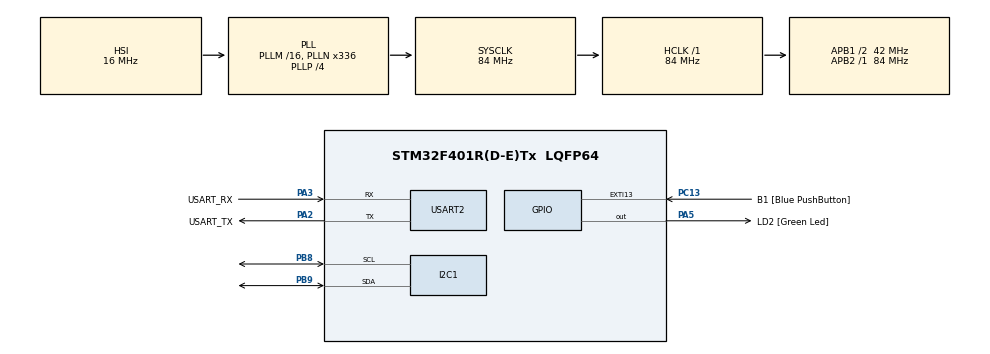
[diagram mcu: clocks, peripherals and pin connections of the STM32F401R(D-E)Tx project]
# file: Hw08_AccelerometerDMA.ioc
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Dma.I2C1_RX.0.Direction=DMA_PERIPH_TO_MEMORY
Dma.I2C1_RX.0.FIFOMode=DMA_FIFOMODE_DISABLE
Dma.I2C1_RX.0.Instance=DMA1_Stream0
Dma.I2C1_RX.0.MemDataAlignment=DMA_MDATAALIGN_BYTE
Dma.I2C1_RX.0.MemInc=DMA_MINC_ENABLE
Dma.I2C1_RX.0.Mode=DMA_NORMAL
Dma.I2C1_RX.0.PeriphDataAlignment=DMA_PDATAALIGN_BYTE
Dma.I2C1_RX.0.PeriphInc=DMA_PINC_DISABLE
Dma.I2C1_RX.0.Priority=DMA_PRIORITY_LOW
Dma.Request0=I2C1_RX
Dma.Request1=USART2_TX
Dma.USART2_TX.1.Direction=DMA_MEMORY_TO_PERIPH
Dma.USART2_TX.1.FIFOMode=DMA_FIFOMODE_DISABLE
Dma.USART2_TX.1.Instance=DMA1_Stream6
Dma.USART2_TX.1.MemDataAlignment=DMA_MDATAALIGN_BYTE
Dma.USART2_TX.1.MemInc=DMA_MINC_ENABLE
Dma.USART2_TX.1.Mode=DMA_NORMAL
Dma.USART2_TX.1.PeriphDataAlignment=DMA_PDATAALIGN_BYTE
Dma.USART2_TX.1.PeriphInc=DMA_PINC_DISABLE
Dma.USART2_TX.1.Priority=DMA_PRIORITY_LOW
Mcu.Family=STM32F4
Mcu.Name=STM32F401R(D-E)Tx
Mcu.Package=LQFP64
NVIC.DMA1_Stream0_IRQn=true\:0\:0\:false\:false\:true\:false\:true\:true
NVIC.DMA1_Stream6_IRQn=true\:0\:0\:false\:false\:true\:false\:true\:true
NVIC.I2C1_ER_IRQn=true\:0\:0\:false\:false\:true\:true\:true\:true
NVIC.I2C1_EV_IRQn=true\:0\:0\:false\:false\:true\:true\:true\:true
NVIC.PriorityGroup=NVIC_PRIORITYGROUP_4
NVIC.TIM2_IRQn=true\:0\:0\:false\:false\:true\:true\:true\:true
NVIC.USART2_IRQn=true\:0\:0\:false\:false\:true\:true\:true\:true
PA13.GPIO_Label=TMS
PA13.Mode=Trace_Asynchronous_SW
PA13.Signal=SYS_JTMS-SWDIO
PA14.GPIO_Label=TCK
PA14.Mode=Trace_Asynchronous_SW
PA14.Signal=SYS_JTCK-SWCLK
PA2.GPIO_Label=USART_TX
PA2.GPIO_Mode=GPIO_MODE_AF_PP
PA2.GPIO_PuPd=GPIO_NOPULL
PA2.GPIO_Speed=GPIO_SPEED_FREQ_LOW
PA2.Mode=Asynchronous
PA2.Signal=USART2_TX
PA3.GPIO_Label=USART_RX
PA3.GPIO_Mode=GPIO_MODE_AF_PP
PA3.GPIO_PuPd=GPIO_NOPULL
PA3.GPIO_Speed=GPIO_SPEED_FREQ_LOW
PA3.Mode=Asynchronous
PA3.Signal=USART2_RX
PA5.GPIO_Label=LD2 [Green Led]
PA5.GPIO_Mode=GPIO_MODE_OUTPUT_PP
PA5.GPIO_PuPd=GPIO_NOPULL
PA5.GPIO_Speed=GPIO_SPEED_FREQ_LOW
PA5.Signal=GPIO_Output
PB3.GPIO_Label=SWO
PB3.Mode=Trace_Asynchronous_SW
PB3.Signal=SYS_JTDO-SWO
PB8.Mode=I2C
PB8.Signal=I2C1_SCL
PB9.Mode=I2C
PB9.Signal=I2C1_SDA
PC13-ANTI_TAMP.GPIO_Label=B1 [Blue PushButton]
PC13-ANTI_TAMP.GPIO_ModeDefaultEXTI=GPIO_MODE_IT_FALLING
PC13-ANTI_TAMP.GPIO_PuPd=GPIO_NOPULL
PC13-ANTI_TAMP.Signal=GPXTI13
PC14-OSC32_IN.Mode=LSE-External-Oscillator
PC14-OSC32_IN.Signal=RCC_OSC32_IN
PC15-OSC32_OUT.Mode=LSE-External-Oscillator
PC15-OSC32_OUT.Signal=RCC_OSC32_OUT
PH0\ -\ OSC_IN.Mode=HSE-External-Clock-Source
PH0\ -\ OSC_IN.Signal=RCC_OSC_IN
PH1\ -\ OSC_OUT.Mode=HSE-External-Clock-Source
PH1\ -\ OSC_OUT.Signal=RCC_OSC_OUT
ProjectManager.HeapSize=0x200
ProjectManager.StackSize=0x400
ProjectManager.TargetToolchain=STM32CubeIDE
RCC.48MHZClocksFreq_Value=48000000
RCC.AHBFreq_Value=84000000
RCC.APB1CLKDivider=RCC_HCLK_DIV2
RCC.APB1Freq_Value=42000000
RCC.APB1TimFreq_Value=84000000
RCC.APB2Freq_Value=84000000
RCC.APB2TimFreq_Value=84000000
RCC.CortexFreq_Value=84000000
RCC.HCLKFreq_Value=84000000
RCC.HSE_VALUE=8000000
RCC.HSI_VALUE=16000000
RCC.PLLN=336
RCC.PLLP=RCC_PLLP_DIV4
RCC.PLLQ=7
RCC.SYSCLKFreq_VALUE=84000000
RCC.SYSCLKSource=RCC_SYSCLKSOURCE_PLLCLK
RCC.VCOOutputFreq_Value=336000000
TIM2.Period=9999
TIM2.Prescaler=8399
USART2.VirtualMode=VM_ASYNC
VP_TIM2_VS_ClockSourceINT.Mode=Internal
board=NUCLEO-F401RE

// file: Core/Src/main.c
/* USER CODE BEGIN Header */
/**
  ******************************************************************************
  * @file           : main.c
  * @brief          : Main program body
  ******************************************************************************
  * @attention
  *
  * Copyright (c) 2025 STMicroelectronics.
  * All rights reserved.
  *
  * This software is licensed under terms that can be found in the LICENSE file
  * in the root directory of this software component.
  * If no LICENSE file comes with this software, it is provided AS-IS.
  *
  ******************************************************************************
  */
/* USER CODE END Header */
#include "main.h"

/* USER CODE BEGIN Includes */
#include "stdio.h"
/* USER CODE END Includes */

/* USER CODE BEGIN PD */
#define LIS2DE_ADDR (0b0101000 << 1)
#define CTRL_REG1 0x20
#define CTRL_REG4 0x23
#define OUT 0x28
/* USER CODE END PD */

I2C_HandleTypeDef hi2c1;
DMA_HandleTypeDef hdma_i2c1_rx;

TIM_HandleTypeDef htim2;

UART_HandleTypeDef huart2;
DMA_HandleTypeDef hdma_usart2_tx;

/* USER CODE BEGIN PV */
uint8_t rx_buf[6];
uint8_t start_reg = OUT | 0b10000000;  // Setting the first bit to 1 enables auto-increment
char string[64];
/* USER CODE END PV */

void SystemClock_Config(void);
static void MX_GPIO_Init(void);
static void MX_DMA_Init(void);
static void MX_USART2_UART_Init(void);
static void MX_I2C1_Init(void);
static void MX_TIM2_Init(void);

/* USER CODE BEGIN 0 */
void HAL_TIM_PeriodElapsedCallback(TIM_HandleTypeDef *htim) {
  if (htim->Instance == TIM3) {
	  HAL_I2C_Master_Transmit(&hi2c1, LIS2DE_ADDR, &start_reg, 1, 100);

	  HAL_I2C_Master_Receive_DMA(&hi2c1, LIS2DE_ADDR, rx_buf, 6);
  }
}

void HAL_I2C_MasterRxCpltCallback(I2C_HandleTypeDef *hi2c) {
  if (hi2c->Instance == I2C1) {
	  int8_t raw_x = (int8_t)rx_buf[1];
	  int8_t raw_y = (int8_t)rx_buf[3];
	  int8_t raw_z = (int8_t)rx_buf[5];

	  float x_g = (float)raw_x * 0.0156f;
	  float y_g = (float)raw_y * 0.0156f;
	  float z_g = (float)raw_z * 0.0156f;

	  int length = snprintf(string, sizeof(string), "X: %+.2f g\r\nY: %+.2f g\r\nZ: %+.2f g\r\n\r\n", x_g, y_g, z_g);
	  HAL_UART_Transmit_DMA(&huart2, (uint8_t *)string, length);
  }
}
/* USER CODE END 0 */

int main(void)
{

  /* MCU Configuration--------------------------------------------------------*/

  /* Reset of all peripherals, Initializes the Flash interface and the Systick. */
  HAL_Init();

  /* Configure the system clock */
  SystemClock_Config();

  /* Initialize all configured peripherals */
  MX_GPIO_Init();
  MX_DMA_Init();
  MX_USART2_UART_Init();
  MX_I2C1_Init();
  MX_TIM2_Init();
  /* USER CODE BEGIN 2 */
  uint8_t i2c_buf[2];

  i2c_buf[0] = CTRL_REG1;
  i2c_buf[1] = 0x17; // ODR=1Hz (0001), Normal mode (0), ZEN, YEN, XEN (0111)
  HAL_I2C_Master_Transmit(&hi2c1, LIS2DE_ADDR, i2c_buf, 2, 100);

  i2c_buf[0] = CTRL_REG4;
  i2c_buf[1] = 0x00; // FS=±2g (00)
  HAL_I2C_Master_Transmit(&hi2c1, LIS2DE_ADDR, i2c_buf, 2, 100);

  HAL_TIM_Base_Start_IT(&htim2);
  /* USER CODE END 2 */

  /* Infinite loop */
  while (1)
  {

  }
}

void SystemClock_Config(void)
{
  RCC_OscInitTypeDef RCC_OscInitStruct = {0};
  RCC_ClkInitTypeDef RCC_ClkInitStruct = {0};

  /** Configure the main internal regulator output voltage
  */
  __HAL_RCC_PWR_CLK_ENABLE();
  __HAL_PWR_VOLTAGESCALING_CONFIG(PWR_REGULATOR_VOLTAGE_SCALE2);

  /** Initializes the RCC Oscillators according to the specified parameters
  * in the RCC_OscInitTypeDef structure.
  */
  RCC_OscInitStruct.OscillatorType = RCC_OSCILLATORTYPE_HSI;
  RCC_OscInitStruct.HSIState = RCC_HSI_ON;
  RCC_OscInitStruct.HSICalibrationValue = RCC_HSICALIBRATION_DEFAULT;
  RCC_OscInitStruct.PLL.PLLState = RCC_PLL_ON;
  RCC_OscInitStruct.PLL.PLLSource = RCC_PLLSOURCE_HSI;
  RCC_OscInitStruct.PLL.PLLM = 16;
  RCC_OscInitStruct.PLL.PLLN = 336;
  RCC_OscInitStruct.PLL.PLLP = RCC_PLLP_DIV4;
  RCC_OscInitStruct.PLL.PLLQ = 7;
  if (HAL_RCC_OscConfig(&RCC_OscInitStruct) != HAL_OK)
  {
    Error_Handler();
  }

  /** Initializes the CPU, AHB and APB buses clocks
  */
  RCC_ClkInitStruct.ClockType = RCC_CLOCKTYPE_HCLK|RCC_CLOCKTYPE_SYSCLK
                              |RCC_CLOCKTYPE_PCLK1|RCC_CLOCKTYPE_PCLK2;
  RCC_ClkInitStruct.SYSCLKSource = RCC_SYSCLKSOURCE_PLLCLK;
  RCC_ClkInitStruct.AHBCLKDivider = RCC_SYSCLK_DIV1;
  RCC_ClkInitStruct.APB1CLKDivider = RCC_HCLK_DIV2;
  RCC_ClkInitStruct.APB2CLKDivider = RCC_HCLK_DIV1;

  if (HAL_RCC_ClockConfig(&RCC_ClkInitStruct, FLASH_LATENCY_2) != HAL_OK)
  {
    Error_Handler();
  }
}

static void MX_I2C1_Init(void)
{

  hi2c1.Instance = I2C1;
  hi2c1.Init.ClockSpeed = 100000;
  hi2c1.Init.DutyCycle = I2C_DUTYCYCLE_2;
  hi2c1.Init.OwnAddress1 = 0;
  hi2c1.Init.AddressingMode = I2C_ADDRESSINGMODE_7BIT;
  hi2c1.Init.DualAddressMode = I2C_DUALADDRESS_DISABLE;
  hi2c1.Init.OwnAddress2 = 0;
  hi2c1.Init.GeneralCallMode = I2C_GENERALCALL_DISABLE;
  hi2c1.Init.NoStretchMode = I2C_NOSTRETCH_DISABLE;
  if (HAL_I2C_Init(&hi2c1) != HAL_OK)
  {
    Error_Handler();
  }

}

static void MX_TIM2_Init(void)
{

  TIM_ClockConfigTypeDef sClockSourceConfig = {0};
  TIM_MasterConfigTypeDef sMasterConfig = {0};

  htim2.Instance = TIM2;
  htim2.Init.Prescaler = 8399;
  htim2.Init.CounterMode = TIM_COUNTERMODE_UP;
  htim2.Init.Period = 9999;
  htim2.Init.ClockDivision = TIM_CLOCKDIVISION_DIV1;
  htim2.Init.AutoReloadPreload = TIM_AUTORELOAD_PRELOAD_DISABLE;
  if (HAL_TIM_Base_Init(&htim2) != HAL_OK)
  {
    Error_Handler();
  }
  sClockSourceConfig.ClockSource = TIM_CLOCKSOURCE_INTERNAL;
  if (HAL_TIM_ConfigClockSource(&htim2, &sClockSourceConfig) != HAL_OK)
  {
    Error_Handler();
  }
  sMasterConfig.MasterOutputTrigger = TIM_TRGO_RESET;
  sMasterConfig.MasterSlaveMode = TIM_MASTERSLAVEMODE_DISABLE;
  if (HAL_TIMEx_MasterConfigSynchronization(&htim2, &sMasterConfig) != HAL_OK)
  {
    Error_Handler();
  }

}

static void MX_USART2_UART_Init(void)
{

  huart2.Instance = USART2;
  huart2.Init.BaudRate = 115200;
  huart2.Init.WordLength = UART_WORDLENGTH_8B;
  huart2.Init.StopBits = UART_STOPBITS_1;
  huart2.Init.Parity = UART_PARITY_NONE;
  huart2.Init.Mode = UART_MODE_TX_RX;
  huart2.Init.HwFlowCtl = UART_HWCONTROL_NONE;
  huart2.Init.OverSampling = UART_OVERSAMPLING_16;
  if (HAL_UART_Init(&huart2) != HAL_OK)
  {
    Error_Handler();
  }

}

static void MX_DMA_Init(void)
{

  /* DMA controller clock enable */
  __HAL_RCC_DMA1_CLK_ENABLE();

  /* DMA interrupt init */
  /* DMA1_Stream0_IRQn interrupt configuration */
  HAL_NVIC_SetPriority(DMA1_Stream0_IRQn, 0, 0);
  HAL_NVIC_EnableIRQ(DMA1_Stream0_IRQn);
  /* DMA1_Stream6_IRQn interrupt configuration */
  HAL_NVIC_SetPriority(DMA1_Stream6_IRQn, 0, 0);
  HAL_NVIC_EnableIRQ(DMA1_Stream6_IRQn);

}

static void MX_GPIO_Init(void)
{
  GPIO_InitTypeDef GPIO_InitStruct = {0};

  /* GPIO Ports Clock Enable */
  __HAL_RCC_GPIOC_CLK_ENABLE();
  __HAL_RCC_GPIOH_CLK_ENABLE();
  __HAL_RCC_GPIOA_CLK_ENABLE();
  __HAL_RCC_GPIOB_CLK_ENABLE();

  /*Configure GPIO pin Output Level */
  HAL_GPIO_WritePin(LD2_GPIO_Port, LD2_Pin, GPIO_PIN_RESET);

  /*Configure GPIO pin : B1_Pin */
  GPIO_InitStruct.Pin = B1_Pin;
  GPIO_InitStruct.Mode = GPIO_MODE_IT_FALLING;
  GPIO_InitStruct.Pull = GPIO_NOPULL;
  HAL_GPIO_Init(B1_GPIO_Port, &GPIO_InitStruct);

  /*Configure GPIO pin : LD2_Pin */
  GPIO_InitStruct.Pin = LD2_Pin;
  GPIO_InitStruct.Mode = GPIO_MODE_OUTPUT_PP;
  GPIO_InitStruct.Pull = GPIO_NOPULL;
  GPIO_InitStruct.Speed = GPIO_SPEED_FREQ_LOW;
  HAL_GPIO_Init(LD2_GPIO_Port, &GPIO_InitStruct);

}

void Error_Handler(void)
{
  __disable_irq();
  while (1)
  {
  }
}
